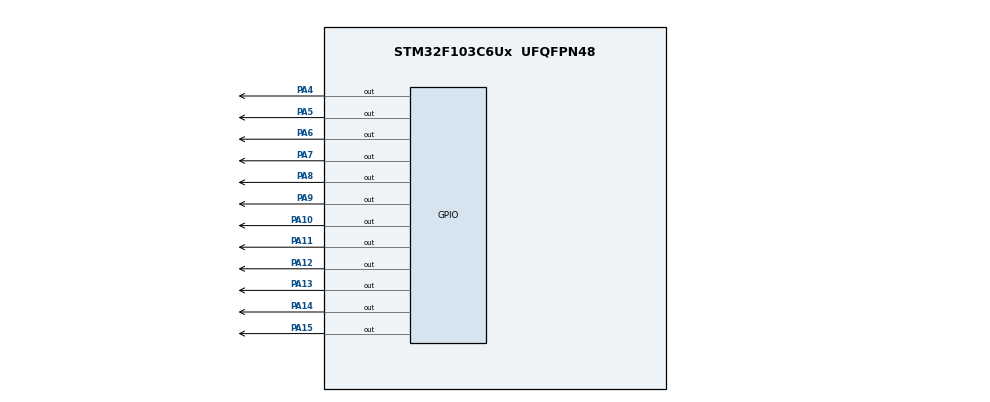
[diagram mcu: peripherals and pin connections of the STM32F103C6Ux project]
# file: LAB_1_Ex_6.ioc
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Mcu.Family=STM32F1
Mcu.Name=STM32F103C6Ux
Mcu.Package=UFQFPN48
NVIC.PriorityGroup=NVIC_PRIORITYGROUP_4
PA10.Signal=GPIO_Output
PA11.Signal=GPIO_Output
PA12.Signal=GPIO_Output
PA13.Signal=GPIO_Output
PA14.Signal=GPIO_Output
PA15.Signal=GPIO_Output
PA4.Signal=GPIO_Output
PA5.Signal=GPIO_Output
PA6.Signal=GPIO_Output
PA7.Signal=GPIO_Output
PA8.Signal=GPIO_Output
PA9.Signal=GPIO_Output
ProjectManager.HeapSize=0x200
ProjectManager.StackSize=0x400
ProjectManager.TargetToolchain=STM32CubeIDE
RCC.APB1Freq_Value=8000000
RCC.APB2Freq_Value=8000000
VP_SYS_VS_ND.Mode=No_Debug
board=custom

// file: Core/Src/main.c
/* USER CODE BEGIN Header */
/**
  ******************************************************************************
  * @file           : main.c
  * @brief          : Main program body
  ******************************************************************************
  * @attention
  *
  * <h2><center>&copy; Copyright (c) 2025 STMicroelectronics.
  * All rights reserved.</center></h2>
  *
  * This software component is licensed by ST under BSD 3-Clause license,
  * the "License"; You may not use this file except in compliance with the
  * License. You may obtain a copy of the License at:
  *                        opensource.org/licenses/BSD-3-Clause
  *
  ******************************************************************************
  */
/* USER CODE END Header */
#include "main.h"

void SystemClock_Config(void);
static void MX_GPIO_Init(void);

int main(void)
{

  /* MCU Configuration--------------------------------------------------------*/

  /* Reset of all peripherals, Initializes the Flash interface and the Systick. */
  HAL_Init();

  /* Configure the system clock */
  SystemClock_Config();

  /* Initialize all configured peripherals */
  MX_GPIO_Init();

  /* Infinite loop */
  /* USER CODE BEGIN WHILE */

  void turn_off_all_leds() {
      GPIO_TypeDef *LED_Ports[] = {GPIOA, GPIOA, GPIOA, GPIOA, GPIOA, GPIOA, GPIOA, GPIOA, GPIOA, GPIOA, GPIOA, GPIOA};

      uint16_t LED_Pins[] = {GPIO_PIN_4, GPIO_PIN_5, GPIO_PIN_6, GPIO_PIN_7,
                             GPIO_PIN_8, GPIO_PIN_9, GPIO_PIN_10, GPIO_PIN_11,
                             GPIO_PIN_12, GPIO_PIN_13, GPIO_PIN_14, GPIO_PIN_15};

      //Them vao de lam testcase
      /*
      for (int i = 0; i < sizeof(LED_Pins) / sizeof(LED_Pins[0]); i++) {
          HAL_GPIO_WritePin(LED_Ports[i], LED_Pins[i], SET);
      }*/

      //tat led
       for (int i = 0; i < 12; i++) {
        	HAL_GPIO_WritePin(LED_Ports[i], LED_Pins[i], RESET);
    	}

  }

  void clearNumberOnClock(int num){
  	  GPIO_TypeDef *LED_Ports[]={ GPIOA, GPIOA, GPIOA, GPIOA, GPIOA, GPIOA, GPIOA, GPIOA, GPIOA, GPIOA, GPIOA, GPIOA };
  	  uint16_t LED_Pins[]={
  			  GPIO_PIN_4, GPIO_PIN_5, GPIO_PIN_6, GPIO_PIN_7,
  			  GPIO_PIN_8, GPIO_PIN_9, GPIO_PIN_10, GPIO_PIN_11,
  			  GPIO_PIN_12, GPIO_PIN_13, GPIO_PIN_14, GPIO_PIN_15
  	  };

  	  //Testcase
  	  /*
  	  for (int i = 0; i < sizeof(LED_Pins) / sizeof(LED_Pins[0]); i++) {
  	            HAL_GPIO_WritePin(LED_Ports[i], LED_Pins[i], SET);
  	        }*/

  	  HAL_GPIO_WritePin(LED_Ports[num], LED_Pins[num], RESET);

    }

    void setNumberOnClock(int num) {
        GPIO_TypeDef *LED_Ports[] = {
            GPIOA, GPIOA, GPIOA, GPIOA, GPIOA, GPIOA, GPIOA, GPIOA, GPIOA, GPIOA, GPIOA, GPIOA
        };

        uint16_t LED_Pins[] = {
            GPIO_PIN_4, GPIO_PIN_5, GPIO_PIN_6, GPIO_PIN_7,
            GPIO_PIN_8, GPIO_PIN_9, GPIO_PIN_10, GPIO_PIN_11,
            GPIO_PIN_12, GPIO_PIN_13, GPIO_PIN_14, GPIO_PIN_15
        };

        // Input validation: Ensure 'num' is between 0 and 11
        if (num < 0 || num > 11) {
            return; // Invalid input, return without doing anything
        }

        HAL_GPIO_WritePin(LED_Ports[num], LED_Pins[num], SET);

    	  }

  void displayClock(int hour, int minute, int second) {
	  // Define the ports and pins for 12 LEDs (12 clock positions)
	  GPIO_TypeDef *LED_Ports[] = {
	      GPIOA, GPIOA, GPIOA, GPIOA, GPIOA, GPIOA, GPIOA, GPIOA,
	      GPIOA, GPIOA, GPIOA, GPIOA
	  };

	  uint16_t LED_Pins[] = {
	      GPIO_PIN_4, GPIO_PIN_5, GPIO_PIN_6, GPIO_PIN_7,
	      GPIO_PIN_8, GPIO_PIN_9, GPIO_PIN_10, GPIO_PIN_11,
	      GPIO_PIN_12, GPIO_PIN_13, GPIO_PIN_14, GPIO_PIN_15
	  };

      // Ensure valid input (normalize values to 12-hour clock positions)
      int pos_hour = hour % 12;
      int pos_minute = (minute / 5) % 12;
      int pos_second = (second / 5) % 12;

      turn_off_all_leds();

      // Turn on LEDs for hour, minute, and second
      //HAL_GPIO_WritePin(LED_Ports[hour], LED_Pins[hour], SET);   // Hour LED
      //HAL_GPIO_WritePin(LED_Ports[minute], LED_Pins[minute], SET); // Minute LED
      //HAL_GPIO_WritePin(LED_Ports[second], LED_Pins[second], SET); // Second LED

      setNumberOnClock(pos_hour);
      setNumberOnClock(pos_minute);
      setNumberOnClock(pos_second);

  }

  void toggle() {
      GPIO_TypeDef *LED_Ports[] = {
          GPIOA, GPIOA, GPIOA, GPIOA, GPIOA, GPIOA, GPIOA, GPIOA, GPIOA, GPIOA, GPIOA, GPIOA
      };

      uint16_t LED_Pins[] = {
          GPIO_PIN_4, GPIO_PIN_5, GPIO_PIN_6, GPIO_PIN_7,
          GPIO_PIN_8, GPIO_PIN_9, GPIO_PIN_10, GPIO_PIN_11,
          GPIO_PIN_12, GPIO_PIN_13, GPIO_PIN_14, GPIO_PIN_15
      };

      for (int i = 0; i < 12; i++) {

          HAL_GPIO_WritePin(LED_Ports[i], LED_Pins[i], SET);
          HAL_Delay(1000);

          HAL_GPIO_WritePin(LED_Ports[i], LED_Pins[i], RESET);
      }
  }
  int hour = 2;
  int minute = 15;
  int second = 25;
  while (1)
  {
	  //Ex6
	  //toggle();

	  //Ex7
	  //turn_off_all_leds();

	  //Ex8
	  //setNumberOnClock(4);

	  //Ex9
	  //clearNumberOnClock(4);

	  //Ex10

	     /* USER CODE END WHILE */
	  	  GPIO_TypeDef *LED_Ports[] = {
	           GPIOA, GPIOA, GPIOA, GPIOA, GPIOA, GPIOA, GPIOA, GPIOA, GPIOA, GPIOA, GPIOA, GPIOA
	       };

	       uint16_t LED_Pins[] = {
	           GPIO_PIN_4, GPIO_PIN_5, GPIO_PIN_6, GPIO_PIN_7,
	           GPIO_PIN_8, GPIO_PIN_9, GPIO_PIN_10, GPIO_PIN_11,
	           GPIO_PIN_12, GPIO_PIN_13, GPIO_PIN_14, GPIO_PIN_15
	       };

	       displayClock( hour , minute , second  );
	       second++;
	            	 	              if (second == 60) {
	            	 	                  second = 0;
	            	 	                  minute++;
	            	 	                  if (minute == 60) {
	            	 	                      minute = 0;
	            	 	                      hour++;
	            	 	                      if (hour == 12) {
	            	 	                          hour = 0;
	            	 	                      }
	            	 	                  }
	            	 	              }

	            	 	              HAL_Delay(1000);
	       /*
	 	  	  	  	  second++;
	 	              if (second == 60) {
	 	                  second = 0;
	 	                  minute++;
	 	                  if (minute == 60) {
	 	                      minute = 0;
	 	                      hour++;
	 	                      if (hour == 12) {
	 	                          hour = 0;
	 	                      }
	 	                  }
	 	              }

	 	              HAL_Delay(1000);*/

	          }

}

void SystemClock_Config(void)
{
  RCC_OscInitTypeDef RCC_OscInitStruct = {0};
  RCC_ClkInitTypeDef RCC_ClkInitStruct = {0};

  /** Initializes the RCC Oscillators according to the specified parameters
  * in the RCC_OscInitTypeDef structure.
  */
  RCC_OscInitStruct.OscillatorType = RCC_OSCILLATORTYPE_HSI;
  RCC_OscInitStruct.HSIState = RCC_HSI_ON;
  RCC_OscInitStruct.HSICalibrationValue = RCC_HSICALIBRATION_DEFAULT;
  RCC_OscInitStruct.PLL.PLLState = RCC_PLL_NONE;
  if (HAL_RCC_OscConfig(&RCC_OscInitStruct) != HAL_OK)
  {
    Error_Handler();
  }
  /** Initializes the CPU, AHB and APB buses clocks
  */
  RCC_ClkInitStruct.ClockType = RCC_CLOCKTYPE_HCLK|RCC_CLOCKTYPE_SYSCLK
                              |RCC_CLOCKTYPE_PCLK1|RCC_CLOCKTYPE_PCLK2;
  RCC_ClkInitStruct.SYSCLKSource = RCC_SYSCLKSOURCE_HSI;
  RCC_ClkInitStruct.AHBCLKDivider = RCC_SYSCLK_DIV1;
  RCC_ClkInitStruct.APB1CLKDivider = RCC_HCLK_DIV1;
  RCC_ClkInitStruct.APB2CLKDivider = RCC_HCLK_DIV1;

  if (HAL_RCC_ClockConfig(&RCC_ClkInitStruct, FLASH_LATENCY_0) != HAL_OK)
  {
    Error_Handler();
  }
}

static void MX_GPIO_Init(void)
{
  GPIO_InitTypeDef GPIO_InitStruct = {0};

  /* GPIO Ports Clock Enable */
  __HAL_RCC_GPIOA_CLK_ENABLE();

  /*Configure GPIO pin Output Level */
  HAL_GPIO_WritePin(GPIOA, GPIO_PIN_4|GPIO_PIN_5|GPIO_PIN_6|GPIO_PIN_7
                          |GPIO_PIN_8|GPIO_PIN_9|GPIO_PIN_10|GPIO_PIN_11
                          |GPIO_PIN_12|GPIO_PIN_13|GPIO_PIN_14|GPIO_PIN_15, GPIO_PIN_RESET);

  /*Configure GPIO pins : PA4 PA5 PA6 PA7
                           PA8 PA9 PA10 PA11
                           PA12 PA13 PA14 PA15 */
  GPIO_InitStruct.Pin = GPIO_PIN_4|GPIO_PIN_5|GPIO_PIN_6|GPIO_PIN_7
                          |GPIO_PIN_8|GPIO_PIN_9|GPIO_PIN_10|GPIO_PIN_11
                          |GPIO_PIN_12|GPIO_PIN_13|GPIO_PIN_14|GPIO_PIN_15;
  GPIO_InitStruct.Mode = GPIO_MODE_OUTPUT_PP;
  GPIO_InitStruct.Pull = GPIO_NOPULL;
  GPIO_InitStruct.Speed = GPIO_SPEED_FREQ_LOW;
  HAL_GPIO_Init(GPIOA, &GPIO_InitStruct);

}

void Error_Handler(void)
{
  __disable_irq();
  while (1)
  {
  }
}

/************************ (C) COPYRIGHT STMicroelectronics *****END OF FILE****/
